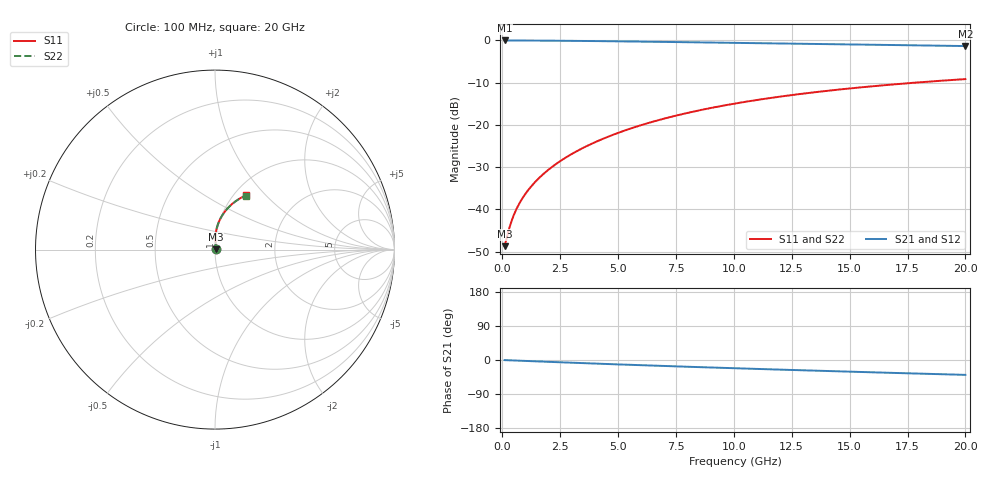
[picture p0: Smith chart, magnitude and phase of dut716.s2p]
! Touchstone file exported from HFSS 2024.1.0
!  File:  C:/UserFiles/LocalFiles/RDL_TSV_Batchsim/temp_RDL_bottom_716_1779858244.aedt
!  Generated:  01:06:55 PM May 27, 2026
!  Design:  RDL_bottom
!  Project:  temp_RDL_bottom_716_1779858244
!  Setup:  Setup1
!  Solution:  Sweep
! Variables:
!  dtsv = 10.80580581um
!  hbump = 3um
!  htsv = 65.03um
!  ldown = 536.97um
!  lrdl = 100um
!  p = 40
!  p1 = 57.83um
!  rhole = 1um
!  t = 450um
!  tdown = 2.29um
!  trdl = 3.915915916um
!  wdown = 28.62um
!  wrdl = 20um
# GHz S MA R 50.000000
! Terminal data exported
! Port[1] = RDL1_T1
! Port[2] = RDL1_T2
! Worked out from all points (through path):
!   200 points, 100 MHz to 20 GHz, reference 50 ohm
!   highest |S21| = -0.03 dB at 100 MHz (marker M1); lowest = -1.4 dB at 20 GHz (marker M2)
!   group delay of S21, straight-line fit = 5.38 ps
!   lowest |S11| = -48.7 dB at 100 MHz (marker M3), VSWR 1.01, Z = 50.3 + j0.166 ohm
!   |S11| at or under -10 dB: start of sweep to 17.86 GHz
!   |S22| runs from -48.7 to -9.2 dB; largest |S21 - S12| = 2.9e-15
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0.1  0.003669 26.8  0.9967 -0.3  0.9967 -0.3  0.003669 26.8
! Gamma 0 0 0 0
! Port Impedance 50 0 50 0
0.3  0.005961 53.7  0.9963 -0.8  0.9963 -0.8  0.005961 53.7
0.4  0.007279 59.8  0.9961 -1.0  0.9961 -1.0  0.00728 59.8
0.5  0.008605 64.0  0.9959 -1.3  0.9959 -1.3  0.008606 63.9
0.6  0.00993 67.1  0.9956 -1.5  0.9956 -1.5  0.009931 67.1
0.8  0.01259 71.7  0.9951 -2.0  0.9951 -2.0  0.01259 71.7
1  0.01528 75.0  0.9946 -2.5  0.9946 -2.5  0.01528 75.0
1.2  0.01802 77.5  0.9941 -2.9  0.9941 -2.9  0.01802 77.5
1.7  0.02512 81.8  0.9924 -4.1  0.9924 -4.1  0.02512 81.7
2.2  0.03257 84.4  0.9904 -5.3  0.9904 -5.3  0.03257 84.3
2.8  0.04197 86.3  0.9875 -6.7  0.9875 -6.7  0.04196 86.3
3.5  0.05355 87.5  0.9834 -8.3  0.9834 -8.3  0.05353 87.4
4.2  0.06574 87.9  0.9789 -9.9  0.9789 -9.9  0.0657 87.9
5  0.08032 87.8  0.9733 -11.6  0.9733 -11.6  0.08026 87.7
5.9  0.09734 87.0  0.9666 -13.5  0.9666 -13.5  0.09725 86.9
6.8  0.1148 85.8  0.9596 -15.4  0.9596 -15.4  0.1147 85.7
8.4  0.1463 83.1  0.947 -18.6  0.947 -18.6  0.1461 83.0
10.1  0.1796 79.7  0.9336 -21.9  0.9336 -21.9  0.1794 79.6
11.7  0.2102 76.4  0.9209 -24.9  0.9209 -24.9  0.2099 76.3
13.4  0.2415 72.9  0.9074 -28.0  0.9074 -28.0  0.2411 72.8
16.7  0.2978 66.4  0.8814 -33.7  0.8814 -33.7  0.2973 66.3
20  0.3479 60.2  0.8556 -39.2  0.8556 -39.2  0.3473 60.1
